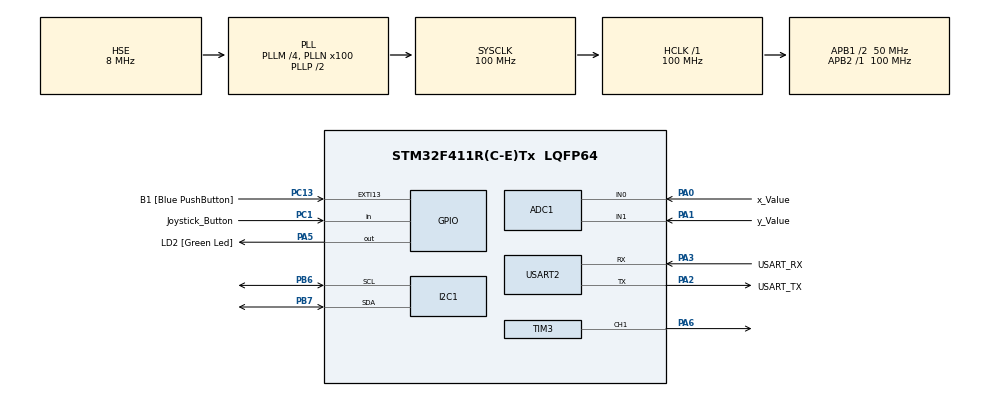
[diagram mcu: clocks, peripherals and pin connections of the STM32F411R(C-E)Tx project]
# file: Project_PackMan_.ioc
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ADC1.Channel-0\#ChannelRegularConversion=ADC_CHANNEL_0
ADC1.Channel-1\#ChannelRegularConversion=ADC_CHANNEL_1
ADC1.ContinuousConvMode=ENABLE
ADC1.DMAContinuousRequests=ENABLE
ADC1.EOCSelection=ADC_EOC_SINGLE_CONV
ADC1.ExternalTrigConv=ADC_SOFTWARE_START
ADC1.NbrOfConversion=2
ADC1.NbrOfConversionFlag=1
ADC1.Rank-0\#ChannelRegularConversion=1
ADC1.Rank-1\#ChannelRegularConversion=2
ADC1.SamplingTime-0\#ChannelRegularConversion=ADC_SAMPLETIME_84CYCLES
ADC1.SamplingTime-1\#ChannelRegularConversion=ADC_SAMPLETIME_84CYCLES
ADC1.ScanConvMode=ENABLE
ADC1.master=1
Dma.ADC1.0.Direction=DMA_PERIPH_TO_MEMORY
Dma.ADC1.0.FIFOMode=DMA_FIFOMODE_DISABLE
Dma.ADC1.0.Instance=DMA2_Stream0
Dma.ADC1.0.MemDataAlignment=DMA_MDATAALIGN_WORD
Dma.ADC1.0.MemInc=DMA_MINC_ENABLE
Dma.ADC1.0.Mode=DMA_CIRCULAR
Dma.ADC1.0.PeriphDataAlignment=DMA_PDATAALIGN_WORD
Dma.ADC1.0.PeriphInc=DMA_PINC_DISABLE
Dma.ADC1.0.Priority=DMA_PRIORITY_LOW
Dma.Request0=ADC1
Mcu.Family=STM32F4
Mcu.Name=STM32F411R(C-E)Tx
Mcu.Package=LQFP64
NVIC.DMA2_Stream0_IRQn=true\:0\:0\:false\:false\:true\:false\:true\:true
NVIC.PriorityGroup=NVIC_PRIORITYGROUP_4
NVIC.TIM2_IRQn=true\:0\:0\:false\:false\:true\:true\:true\:true
PA0-WKUP.GPIO_Label=x_Value
PA0-WKUP.Signal=ADCx_IN0
PA1.GPIO_Label=y_Value
PA1.Signal=ADCx_IN1
PA13.GPIO_Label=TMS
PA13.Mode=Serial_Wire
PA13.Signal=SYS_JTMS-SWDIO
PA14.GPIO_Label=TCK
PA14.Mode=Serial_Wire
PA14.Signal=SYS_JTCK-SWCLK
PA2.GPIO_Label=USART_TX
PA2.Mode=Asynchronous
PA2.Signal=USART2_TX
PA3.GPIO_Label=USART_RX
PA3.Mode=Asynchronous
PA3.Signal=USART2_RX
PA5.GPIO_Label=LD2 [Green Led]
PA5.Signal=GPIO_Output
PA6.Signal=S_TIM3_CH1
PB3.GPIO_Label=SWO
PB3.Signal=SYS_JTDO-SWO
PB6.GPIO_Pu=GPIO_PULLUP
PB6.Mode=I2C
PB6.Signal=I2C1_SCL
PB7.GPIO_Pu=GPIO_PULLUP
PB7.Mode=I2C
PB7.Signal=I2C1_SDA
PC1.GPIO_Label=Joystick_Button
PC1.GPIO_PuPd=GPIO_PULLUP
PC1.Signal=GPIO_Input
PC13-ANTI_TAMP.GPIO_Label=B1 [Blue PushButton]
PC13-ANTI_TAMP.GPIO_ModeDefaultEXTI=GPIO_MODE_IT_FALLING
PC13-ANTI_TAMP.Signal=GPXTI13
PC14-OSC32_IN.Mode=LSE-External-Oscillator
PC14-OSC32_IN.Signal=RCC_OSC32_IN
PC15-OSC32_OUT.Mode=LSE-External-Oscillator
PC15-OSC32_OUT.Signal=RCC_OSC32_OUT
PH0\ -\ OSC_IN.Mode=HSE-External-Oscillator
PH0\ -\ OSC_IN.Signal=RCC_OSC_IN
PH1\ -\ OSC_OUT.Mode=HSE-External-Oscillator
PH1\ -\ OSC_OUT.Signal=RCC_OSC_OUT
ProjectManager.HeapSize=0x200
ProjectManager.StackSize=0x400
ProjectManager.TargetToolchain=STM32CubeIDE
RCC.48MHZClocksFreq_Value=50000000
RCC.AHBFreq_Value=100000000
RCC.APB1CLKDivider=RCC_HCLK_DIV2
RCC.APB1Freq_Value=50000000
RCC.APB1TimFreq_Value=100000000
RCC.APB2Freq_Value=100000000
RCC.APB2TimFreq_Value=100000000
RCC.CortexFreq_Value=100000000
RCC.FLatency-AdvancedSettings=FLASH_LATENCY_3
RCC.HCLKFreq_Value=100000000
RCC.HSE_VALUE=8000000
RCC.HSI_VALUE=16000000
RCC.PLLM=4
RCC.PLLN=100
RCC.PLLSourceVirtual=RCC_PLLSOURCE_HSE
RCC.SYSCLKFreq_VALUE=100000000
RCC.SYSCLKSource=RCC_SYSCLKSOURCE_PLLCLK
RCC.VCOOutputFreq_Value=200000000
SH.ADCx_IN0.0=ADC1_IN0,IN0
SH.ADCx_IN1.0=ADC1_IN1,IN1
SH.S_TIM3_CH1.0=TIM3_CH1,PWM Generation1 CH1
TIM2.Period=10000-1
TIM2.Prescaler=10000-1
TIM3.AutoReloadPreload=TIM_AUTORELOAD_PRELOAD_ENABLE
TIM3.Channel-PWM\ Generation1\ CH1=TIM_CHANNEL_1
TIM3.Period=1000-1
TIM3.Prescaler=230-1
TIM3.TIM_MasterOutputTrigger=TIM_TRGO_RESET
USART2.VirtualMode=VM_ASYNC
VP_TIM2_VS_ClockSourceINT.Mode=Internal
board=NUCLEO-F411RE

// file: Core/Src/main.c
/* USER CODE BEGIN Header */
/**
  ******************************************************************************
  * @file           : main.c
  * @brief          : Main program body
  ******************************************************************************
  * @attention
  *
  * Copyright (c) 2023 STMicroelectronics.
  * All rights reserved.
  *
  * This software is licensed under terms that can be found in the LICENSE file
  * in the root directory of this software component.
  * If no LICENSE file comes with this software, it is provided AS-IS.
  *
  ******************************************************************************
  */
/* USER CODE END Header */
#include "main.h"
#include "adc.h"
#include "dma.h"
#include "i2c.h"
#include "tim.h"
#include "usart.h"
#include "gpio.h"

/* USER CODE BEGIN Includes */
#include "I2C_lcd.h"
#include <string.h>
#include <stdlib.h>
/* USER CODE END Includes */

/* USER CODE BEGIN PV */
typedef enum{
	ING,
	WIN,
	OVER
}Game_status;
Game_status game_status=ING;

typedef enum{
	LEVEL1=1,
	LEVEL2,
	LEVEL3
}Level;
Level level=LEVEL1;

typedef enum{
	UP,
	DOWN,
	RIGHT,
	LEFT,
	NONE
}Direction;

typedef struct{
	int row;
	int col;
	int image_num;
	int past_position[2][16];
	uint8_t food;
}Character;

typedef struct{
	int row;
	int col;
	int image_num;
	uint8_t clock_before;
}Enemy;

uint32_t dir[2];

uint8_t clk_pulse;
/* USER CODE END PV */

void SystemClock_Config(void);
/* USER CODE BEGIN PFP */

Direction Dir_Joystick() // 조이스틱 방향 출력 함수
{
	// 중간값에 가까워질수록 민감도 높아짐.
	if(dir[0] > 3150) return LEFT;
	else if(dir[0] < 600) return RIGHT;
	else if(dir[1] > 3110) return UP;
	else if(dir[1] < 600) return DOWN;
	else return NONE;
}

void Move_Pacman(Character *character, Direction direc)
{
	switch(direc)
	{
	case RIGHT :
		character->col++; // RIGHT 입력 시, 1칸 이동
		if(character->col > 15) character->col = 15; // 칸 넘어가지 말고 그 자리에서 정지
		character->image_num &= ~(0x2); // 오른쪽 방향 이미지 : 0, 1
		character->image_num ^= 1;
//		LCD_Display_Charactor(character);
		break;

	case LEFT :
		character->col--;
		if(character->col < 0) character->col = 0;
		character->image_num |= 0x2; // 왼쪽 방향 이미지 : 2, 3
		character->image_num ^= 1;
//		LCD_Display_Charactor(character);
		break;

	case UP :
		character->row--;
		if(character->row < 0) character->row = 0;
//		LCD_Display_Charactor(character);
		break;

	case DOWN :
		character->row++;
		if(character->row > 1) character->row = 1;
//		LCD_Display_Charactor(character);
		break;

	default :
//		LCD_Display_Charactor(character);
		break;
	}
	character->past_position[character->row][character->col] = 1;
	// 캐릭터 시작은 0,0
	// 모든 위치에 한 번씩 다 도달하여 이차원배열이 1로 채워지면,
	// 먹이를 다 먹었다는 뜻.
}

void LCD_Display_Charactor(Character *character)
{
	uint8_t count = 0; // 먹이의 갯수를 세는 변수 count
	lcd_clear();
	lcd_put_cur(character->row, character->col); // 캐릭터의 현재 위치로 커서 이동
	lcd_send_data(character->image_num); // 캐릭터 이미지 데이터를 LCD에 출력

	// 캐릭터 먹이 생성
	for(int i = 0 ; i <= 1 ; i++)
	{
		for(int j = 0 ; j < 16 ; j++)
		{
			if (character->past_position[i][j] != 1) // pacman이 지나가지 않은 곳에 먹이 생성
			{
				lcd_put_cur(i, j); // 지나간 위치 빼고 모든 위치에 먹이 배치
				lcd_send_data(0xa5); // 먹이 모양 : 0xa5 / LCD 데이터 시트 참조
				count++;
			}
		}
	}
	// 생성된 먹이의 갯수와 캐릭터가 먹은 먹이의 수를 비교하여 소리 조절
	if(count < character->food)
	{
		// PWM 사용하여 소리 출력
		TIM3->CCR1 = TIM3->ARR / 2;
		character->food = count;
	}
}

void Move_Enemy(Enemy *enemy, Character character, uint8_t clk_pulse) // enemy는 포인터 변수, charactor는 구조체이므로 enemy->col, charaoctr->col
{
	uint8_t move = rand()%2; // 0 또는 1 중의 무작위값 선택

	if(clk_pulse == 1 && enemy->clock_before == 0)
	{
		if(move == 0)
		{
			if(enemy->row != character.row) // Enemy와 Charactoc의 행이 다른 경우
				enemy->row = character.row; // Enemy는 Charactor쪽으로 이동한다.
		}
		else if(move == 1)
		{
			if(enemy->col > character.col) // enemy가 charactor보다 오른쪽에 있다면,
			{
				enemy->col--; // 왼쪽으로 이동시켜라.
				if(enemy->col < 0) // 화면 밖으로 나가지 않도록 설정
					enemy->col = 0;
			}
			else if(enemy->col < character.col) // enemy가 charactor보다 왼쪽에 있다면,
			{
				enemy->col++; // 오른쪽으로 이동시켜라
				if(enemy->col > 15) // 화면 밖으로 나가지 않도록 설정
					enemy->col = 15;
			}
		}
	}
	enemy->clock_before = clk_pulse;
}

void LCD_Display_Enemy(Enemy enemy)
{
	lcd_put_cur(enemy.row, enemy.col);
	lcd_send_data(enemy.image_num);
}

Game_status GameStatus(Character *character, Enemy *enemy)
{
	uint8_t cnt = 0;
	for(int i = 0 ; i <= 1 ; i++)
	{
		for(int j = 0 ; j < 16 ; j++)
		{
			if(character->past_position[i][j] == 1)
				cnt++;
		}
	}
	if(character->row == enemy->row && character->col == enemy->col)
	{
		LoseSound();
		return OVER;
	}
	else if(cnt == 32 && level == 1)
	{
		WinSound();
		lcd_clear();
		lcd_put_cur(0, 1);
		lcd_send_string("Level 2");
		HAL_Delay(500);
		lcd_put_cur(1, 9);
		lcd_send_string("Start!");
		HAL_Delay(800);
		LevelupInit(character, enemy);
//		TIM2->PSC = 6750; // 문어 속도 Lv1보다 빠르게
		TIM2->PSC = 5000; // 문어 속도 Lv1보다 빠르게
		return game_status;
	}
	else if(cnt == 32 && level == 2)
	{
		WinSound();
		lcd_clear();
		lcd_put_cur(0, 1);
		lcd_send_string("Level 3");
		HAL_Delay(500);
		lcd_put_cur(1, 9);
		lcd_send_string("Start!");
		HAL_Delay(800);
		LevelupInit(character, enemy);
//		TIM2->PSC = 4500; // 문어 속도 Lv2보다 빠르게
		TIM2->PSC = 3500; // 문어 속도 Lv2보다 빠르게
		return game_status;
	}
	else if(cnt == 32 && level == 3)
	{
		WinSound();
		return WIN;
	}
	else return game_status;
}

void LevelupInit(Character *character, Enemy *enemy)
{
	level++; // enum type의 장점, 문자에 각 번호가 할당되어 연산식 사용이 편하다.
	character->row = 0;
	character->col = 0;
	character->food = 31;
	for(int i = 0 ; i <= 1 ; i++)
	{
		for(int j = 0 ; j < 16 ; j++)
		{
			character->past_position[i][j] = 0;
		}
	}
	enemy->row = 1;
	enemy->col = 8;
}

void HAL_TIM_PeriodElapsedCallback(TIM_HandleTypeDef *htim)
{
	clk_pulse ^= 0x01;
}

void StartSound()
{
	TIM3->ARR = 156;
	TIM3->CCR1 = TIM3->ARR / 2;
	HAL_Delay(100);
	TIM3->ARR = 111;
	TIM3->CCR1 = TIM3->ARR / 2;
	HAL_Delay(100);

	// Setting for food eating Sound
	TIM3->ARR = 1060;
	TIM3->CCR1 = 0;
}

void LoseSound()
{
	TIM3->ARR = 290;
	TIM3->CCR1 = TIM3->ARR / 2;
	HAL_Delay(80);

	TIM3->ARR = 391;
	TIM3->CCR1 = TIM3->ARR / 2;
	HAL_Delay(80);

	TIM3->ARR = 290;
	TIM3->CCR1 = TIM3->ARR / 2;
	HAL_Delay(80);

	TIM3->ARR = 391;
	TIM3->CCR1 = TIM3->ARR / 2;
	HAL_Delay(80);
}

void WinSound()
{
	TIM3->ARR = 593;
	TIM3->CCR1 = TIM3->ARR / 2;
	HAL_Delay(100);

	TIM3->CCR1 = 0;
	HAL_Delay(10);

	TIM3->CCR1 = TIM3->ARR / 2;
	HAL_Delay(100);

	TIM3->CCR1 = 0;
	HAL_Delay(10);

	TIM3->CCR1 = TIM3->ARR / 2;
	HAL_Delay(100);

	TIM3->CCR1 = 0;
	HAL_Delay(10);

	TIM3->ARR = 767;
	TIM3->CCR1 = TIM3->ARR / 2;
	HAL_Delay(300);

	TIM3->ARR = 593;
	TIM3->CCR1 = TIM3->ARR / 2;
	HAL_Delay(300);

	TIM3->ARR = 508;
	TIM3->CCR1 = TIM3->ARR / 2;
	HAL_Delay(300);

	TIM3->ARR = 1029;
	TIM3->CCR1 = TIM3->ARR / 2;
	HAL_Delay(300);
}
/* USER CODE END PFP */

int main(void)
{

  /* MCU Configuration--------------------------------------------------------*/

  /* Reset of all peripherals, Initializes the Flash interface and the Systick. */
  HAL_Init();

  /* Configure the system clock */
  SystemClock_Config();

  /* Initialize all configured peripherals */
  MX_GPIO_Init();
  MX_DMA_Init();
  MX_USART2_UART_Init();
  MX_ADC1_Init();
  MX_TIM2_Init();
  MX_TIM3_Init();
  MX_I2C1_Init();
  /* USER CODE BEGIN 2 */
  HAL_ADC_Start_DMA(&hadc1, dir, 2);

  // LCD 초기화 함수 호출
  lcd_init();

  // Pacman 이미지 데이터
  char pac1[] = {0x07,  0x0F,  0x1C,  0x18,  0x18,  0x1C,  0x0F,  0x07}; // 우 벌
  char pac2[] = {0x00,  0x0F,  0x1F,  0x18,  0x1C,  0x1F,  0x0F,  0x00}; // 우 닫
  char pac3[] = {0x1C,  0x1E,  0x07,  0x03,  0x03,  0x07,  0x1E,  0x1C}; // 좌 벌
  char pac4[] = {0x00,  0x1E,  0x1F,  0x03,  0x07,  0x1F,  0x1E,  0x00}; // 좌 닫
  char enemy[] = {0x0E,  0x1F,  0x15,  0x1F,  0x0E,  0x15,  0x15,  0x15}; // 문어

  // Pacman 이미지를 LCD의 DDRAM에 저장
  lcd_send_cmd(0x40); // LCD 화면의 DDRAM 주소를 설정하여 화면의 원하는 위치에 출력, DDRAM Address 2열 1번의 주소가 0x40
  for(int i = 0 ; i < 8 ; i++)
	  lcd_send_data(pac1[i]);

  lcd_send_cmd(0x40+8); // 8bit씩이니까 2번은 0x40 + 8
  for(int i = 0 ; i < 8 ; i++)
	  lcd_send_data(pac2[i]);

  lcd_send_cmd(0x40+16);
  for(int i = 0 ; i < 8 ; i++)
	  lcd_send_data(pac3[i]);

  lcd_send_cmd(0x40+24);
  for(int i = 0 ; i < 8 ; i++)
	  lcd_send_data(pac4[i]);

  lcd_send_cmd(0x40+32);
  for(int i = 0 ; i < 8 ; i++)
	  lcd_send_data(enemy[i]);
  // 위 코드로 인해 pac1, pac2, pac3, pac4, enemy의 데이터가 LCD 화면에 순서대로 출력된다.
  // lcd_send_cmd()를 사용하여 DDRAM 주소를 설정
  // lcd_send_data()를 사용하여 데이터 출력하면 LCD 화면에 그래픽이 표시된다.

  // 시작 화면
  lcd_put_cur(0, 0);
  lcd_send_string("Press the Button");

  lcd_put_cur(1, 4);
  lcd_send_string("to Start");

  // 시작 버튼 누를 때까지 대기
  while(HAL_GPIO_ReadPin(Joystick_Button_GPIO_Port, Joystick_Button_Pin))
	  HAL_Delay(100); // 눌리면, 100ms 뒤 시작

  HAL_TIM_Base_Start_IT(&htim2); // TIM2를 인터럽트로 사용
  HAL_TIM_PWM_Start(&htim3, TIM_CHANNEL_1); // Sound를 위한 PWM

  StartSound();

  lcd_clear();
  lcd_put_cur(0, 1);
  lcd_send_string("LEVEL 1");
  HAL_Delay(500);

  lcd_put_cur(1, 9);
  lcd_send_string("Start!");
  HAL_Delay(800);

  // Pacman Init
  Character pacman;
  memset(&pacman, 0, sizeof(pacman)); // pacman 구조체를 0으로 초기화한다(모든 멤버 변수를 0으로 설정)
  pacman.food = 31;

  // Enemy Init
  Enemy octopus;
  memset(&octopus, 0, sizeof(octopus)); // octopus 구조체를 0으로 초기화한다(모든 멤버 변수를 0으로 설정)
  octopus.image_num = 4;
  octopus.row = 1; // 처음 시작 위치
  octopus.col = 8;

  lcd_clear();
  lcd_put_cur(pacman.row, pacman.col);
  lcd_send_data(pacman.image_num);
  TIM2->PSC = 8000; // 문어 속도를 좀 더 빠르게 설정

  /* USER CODE END 2 */

  /* Infinite loop */
  while (1)
  {

    /* USER CODE BEGIN 3 */
	if(game_status == ING)
	{
		Move_Pacman(&pacman, Dir_Joystick());
		Move_Enemy(&octopus, pacman, clk_pulse);
		LCD_Display_Charactor(&pacman);
		LCD_Display_Enemy(octopus);

		game_status = GameStatus(&pacman, &octopus);

//		HAL_Delay(100);
		HAL_Delay(45);
		TIM3->CCR1 = 0;
	}
	else if(game_status == WIN)
	{
		lcd_put_cur(0, 4);
		lcd_send_string("YOU WIN");
		lcd_put_cur(1, 0);
		lcd_send_string("Congratulations!");
	}
	else if(game_status == OVER)
	{
		lcd_put_cur(0, 4);
		lcd_send_string("YOU LOSE");
	}
  }
  /* USER CODE END 3 */
}

void SystemClock_Config(void)
{
  RCC_OscInitTypeDef RCC_OscInitStruct = {0};
  RCC_ClkInitTypeDef RCC_ClkInitStruct = {0};

  /** Configure the main internal regulator output voltage
  */
  __HAL_RCC_PWR_CLK_ENABLE();
  __HAL_PWR_VOLTAGESCALING_CONFIG(PWR_REGULATOR_VOLTAGE_SCALE1);

  /** Initializes the RCC Oscillators according to the specified parameters
  * in the RCC_OscInitTypeDef structure.
  */
  RCC_OscInitStruct.OscillatorType = RCC_OSCILLATORTYPE_HSE;
  RCC_OscInitStruct.HSEState = RCC_HSE_ON;
  RCC_OscInitStruct.PLL.PLLState = RCC_PLL_ON;
  RCC_OscInitStruct.PLL.PLLSource = RCC_PLLSOURCE_HSE;
  RCC_OscInitStruct.PLL.PLLM = 4;
  RCC_OscInitStruct.PLL.PLLN = 100;
  RCC_OscInitStruct.PLL.PLLP = RCC_PLLP_DIV2;
  RCC_OscInitStruct.PLL.PLLQ = 4;
  if (HAL_RCC_OscConfig(&RCC_OscInitStruct) != HAL_OK)
  {
    Error_Handler();
  }

  /** Initializes the CPU, AHB and APB buses clocks
  */
  RCC_ClkInitStruct.ClockType = RCC_CLOCKTYPE_HCLK|RCC_CLOCKTYPE_SYSCLK
                              |RCC_CLOCKTYPE_PCLK1|RCC_CLOCKTYPE_PCLK2;
  RCC_ClkInitStruct.SYSCLKSource = RCC_SYSCLKSOURCE_PLLCLK;
  RCC_ClkInitStruct.AHBCLKDivider = RCC_SYSCLK_DIV1;
  RCC_ClkInitStruct.APB1CLKDivider = RCC_HCLK_DIV2;
  RCC_ClkInitStruct.APB2CLKDivider = RCC_HCLK_DIV1;

  if (HAL_RCC_ClockConfig(&RCC_ClkInitStruct, FLASH_LATENCY_3) != HAL_OK)
  {
    Error_Handler();
  }
}

void Error_Handler(void)
{
  __disable_irq();
  while (1)
  {
  }
}
